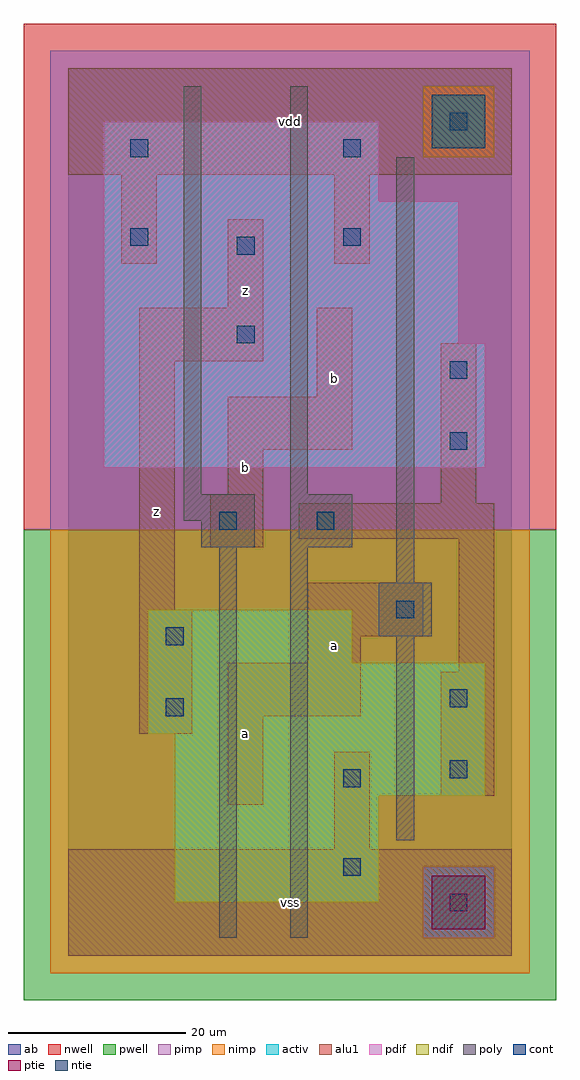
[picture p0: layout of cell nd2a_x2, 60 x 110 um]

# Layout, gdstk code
import gdstk
lib = gdstk.Library(unit=1e-6, precision=1e-09)
def R(c, l, rs):  # rectangles x0, y0, x1, y1
    for r in rs: c.add(gdstk.rectangle(r[:2], r[2:], *l))
ndif = (3, 0)
pdif = (4, 0)
ntie = (5, 0)
ptie = (6, 0)
cont = (25, 0)
pwell = (41, 0)
nwell = (42, 0)
activ = (43, 0)
pimp = (44, 0)
nimp = (45, 0)
poly = (46, 0)
alu1 = (49, 0)
ab = (63, 0)

nd2a_x2 = lib.new_cell('nd2a_x2')
R(nd2a_x2, ndif, [(12,6,35,18), (12,18,47,25), (9,25,47,33), (9,33,32,39)])
R(nd2a_x2, pdif, [(4,55,47,69), (4,69,44,85), (4,85,35,94)])
R(nd2a_x2, ntie, [(41,91,47,97)])
R(nd2a_x2, ptie, [(41,3,47,9)])
R(nd2a_x2, cont, [(43,5,45,7), (31,9,33,11), (31,19,33,21), (43,20,45,22), (11,27,13,29), (43,28,45,30), (11,35,13,37), (37,38,39,40), (17,48,19,50), (28,48,30,50), (43,57,45,59), (43,65,45,67), (19,69,21,71), (19,79,21,81), (7,80,9,82), (31,80,33,82), (7,90,9,92), (31,90,33,92), (43,93,45,95)])
R(nd2a_x2, pwell, [(-5,-5,55,48)])
R(nd2a_x2, nwell, [(-5,48,55,105)])
R(nd2a_x2, activ, [(41,3,47,9), (12,6,35,18), (12,18,47,25), (9,25,47,33), (9,33,32,39), (4,55,47,69), (4,69,44,85), (4,85,35,94), (41,91,47,97)])
R(nd2a_x2, pimp, [(40,2,48,10), (-2,48,52,90), (-2,90,40,98), (48,90,52,98), (-2,98,52,102)])
R(nd2a_x2, nimp, [(-2,-2,52,2), (-2,2,40,10), (48,2,52,10), (-2,10,52,48), (40,90,48,98)])
R(nd2a_x2, poly, [(17,2,19,46), (25,2,27,46), (37,13,39,36), (35,36,41,42), (37,42,39,90), (15,46,21,49), (25,46,32,52), (13,49,21,52), (13,52,15,98), (25,52,27,98)])
R(nd2a_x2, alu1, [(0,0,50,12), (30,12,34,23), (18,17,22,27), (42,18,48,32), (8,25,14,39), (18,27,33,33), (44,32,48,47), (27,33,33,36), (27,36,40,42), (8,39,12,67), (16,46,22,52), (26,47,48,51), (42,51,46,69), (18,52,22,57), (18,57,32,63), (28,63,32,73), (8,67,22,73), (18,73,22,83), (6,78,10,88), (30,78,34,88), (0,88,50,100)])
R(nd2a_x2, ab, [(0,0,50,100)])
nd2a_x2.add(gdstk.Label('a', (20,25), layer=49, texttype=0))
nd2a_x2.add(gdstk.Label('z', (10,50), layer=49, texttype=0))
nd2a_x2.add(gdstk.Label('b', (20,55), layer=49, texttype=0))
nd2a_x2.add(gdstk.Label('z', (20,75), layer=49, texttype=0))
nd2a_x2.add(gdstk.Label('vss', (25,6), layer=49, texttype=0))
nd2a_x2.add(gdstk.Label('a', (30,35), layer=49, texttype=0))
nd2a_x2.add(gdstk.Label('b', (30,65), layer=49, texttype=0))
nd2a_x2.add(gdstk.Label('vdd', (25,94), layer=49, texttype=0))

lib.write_gds('nd2a_x2.gds')
